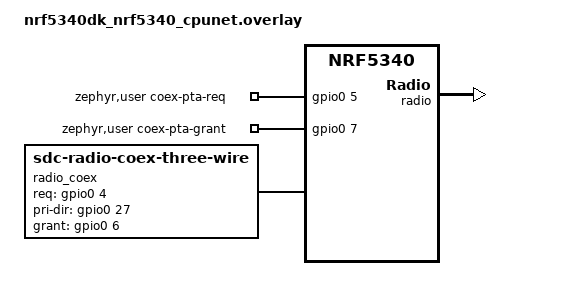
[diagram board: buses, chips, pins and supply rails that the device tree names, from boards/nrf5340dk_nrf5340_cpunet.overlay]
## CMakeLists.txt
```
# Copyright (c) 2021 Nordic Semiconductor ASA
#
# SPDX-License-Identifier: LicenseRef-Nordic-5-Clause
#

cmake_minimum_required(VERSION 3.20.0)

find_package(Zephyr REQUIRED HINTS $ENV{ZEPHYR_BASE})

project("External radio Bluetooth coexistence sample")

#if (NOT CONFIG_SOC_SERIES_NRF52X)
#  message(FATAL_ERROR "This sample is only supported on the nRF52 series.")
#endif()

# NORDIC SDK APP START
target_sources(app PRIVATE
  src/main.c
)
# NORDIC SDK APP END
```

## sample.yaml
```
sample:
  description: Bluetooth radio coexistence
  name: Bluetooth radio coexistence 3wire sample
tests:
  samples.bluetooth.radio_coex_3wire:
    build_only: true
    integration_platforms:
      - nrf52840dk_nrf52840
      - nrf5340dk_nrf5340_cpunet
    tags: bluetooth ci_build
    platform_allow: nrf52840dk_nrf52840 nrf5340dk_nrf5340_cpunet
```

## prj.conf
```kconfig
#
# Copyright (c) 2019 Nordic Semiconductor
#
# SPDX-License-Identifier: LicenseRef-Nordic-5-Clause
#

CONFIG_NCS_SAMPLES_DEFAULTS=y
CONFIG_ASSERT=y

CONFIG_BT=y
CONFIG_BT_PERIPHERAL=y
CONFIG_BT_DEVICE_NAME="Nordic_Bluetooth_Coex"

CONFIG_CONSOLE_SUBSYS=y
CONFIG_CONSOLE_GETCHAR=y
CONFIG_MPSL_CX=y
CONFIG_MPSL_CX_BT_3WIRE=y

CONFIG_NRFX_TIMER2=y
CONFIG_NRFX_GPIOTE=y

CONFIG_NCS_SAMPLE_EMPTY_APP_CORE_CHILD_IMAGE=y
CONFIG_BT_LBS=y
```

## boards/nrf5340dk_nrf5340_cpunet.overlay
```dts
/* Copyright (c) 2021 Nordic Semiconductor ASA
 *
 * SPDX-License-Identifier: LicenseRef-Nordic-5-Clause
 */

/ {
  zephyr,user {
    coex-pta-req-gpios =   <&gpio0 5 GPIO_ACTIVE_HIGH>;
    coex-pta-grant-gpios = <&gpio0 7 GPIO_ACTIVE_HIGH>;
  };

  radio_coex: radio_coex_three_wire {
    status = "okay";
    compatible = "sdc-radio-coex-three-wire";
    req-gpios =     <&gpio0 4 GPIO_ACTIVE_HIGH>;
    pri-dir-gpios = <&gpio0 27 GPIO_ACTIVE_HIGH>;
    grant-gpios =   <&gpio0 6 GPIO_ACTIVE_HIGH>;
    type-delay-us = <8>;
    radio-delay-us = <5>;
    /delete-property/ is-rx-active-level;
  };
};

&radio {
  coex = <&radio_coex>;
};
```

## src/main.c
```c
/*
 * Copyright (c) 2021 Nordic Semiconductor ASA
 *
 * SPDX-License-Identifier: LicenseRef-Nordic-5-Clause
 */

#include <stddef.h>
#include <sys/printk.h>
#include <console/console.h>
#include <sys/__assert.h>

#include <bluetooth/bluetooth.h>
#include <bluetooth/uuid.h>

#include <hal/nrf_radio.h>
#include <hal/nrf_egu.h>
#include <nrfx_timer.h>
#include <nrfx_gpiote.h>
#include <helpers/nrfx_gppi.h>

#if defined(CONFIG_HAS_HW_NRF_DPPIC)
#include <mpsl_dppi_protocol_api.h>
#endif

#define DEBUG_GPIO
#define ADV_CONN

#define ZEPHYR_USER_NODE DT_PATH(zephyr_user)
#if (DT_NODE_HAS_PROP(ZEPHYR_USER_NODE, coex_pta_req_gpios) && \
	DT_NODE_HAS_PROP(ZEPHYR_USER_NODE, coex_pta_grant_gpios) && \
	DT_NODE_HAS_STATUS(DT_PHANDLE(DT_NODELABEL(radio), coex), okay))
/* PTA input */
#define APP_REQ_GPIO_PIN NRF_DT_GPIOS_TO_PSEL(ZEPHYR_USER_NODE, coex_pta_req_gpios)
/* PTA output */
#define APP_GRANT_GPIO_PIN NRF_DT_GPIOS_TO_PSEL(ZEPHYR_USER_NODE, coex_pta_grant_gpios)
#define COEX_NODE DT_PHANDLE(DT_NODELABEL(radio), coex)
#else
#error "Unsupported board: see README and check /zephyr,user node"
#define APP_REQ_GPIO_PIN 0
#define APP_GRANT_GPIO_PIN 0
#define CX_NODE DT_INVALID_NODE
#endif

#if defined(CONFIG_HAS_HW_NRF_PPI)
#include <nrfx_ppi.h>
#define gppi_channel_t        nrf_ppi_channel_t
#define gppi_channel_alloc    nrfx_ppi_channel_alloc
#define EGU0_IRQn SWI0_EGU0_IRQn
#elif defined(CONFIG_HAS_HW_NRF_DPPIC)
#include <nrfx_dppi.h>
#define gppi_channel_t        uint8_t
#define gppi_channel_alloc    nrfx_dppi_channel_alloc
#else
#error "No PPI or DPPI"
#endif

#ifdef DEBUG_GPIO
#if defined(CONFIG_HAS_HW_NRF_PPI)
#define DEBUG_GPIO_PIN        31
#else
#define DEBUG_GPIO_PIN        26
#endif
#endif

#define APP_GRANT_TIMER NRF_TIMER2
#define APP_GRANT_TIMER_ID 2
#define APP_GRANT_TIMER_CC0 0

#define EGU_INT_PRIO 4

#define STACKSIZE CONFIG_MAIN_STACK_SIZE
#define THREAD_PRIORITY K_LOWEST_APPLICATION_THREAD_PRIO


#ifdef ADV_CONN
#include <bluetooth/services/lbs.h>

#define DEVICE_NAME             CONFIG_BT_DEVICE_NAME
#define DEVICE_NAME_LEN         (sizeof(DEVICE_NAME) - 1)

static const struct bt_data ad[] = {
	BT_DATA_BYTES(BT_DATA_FLAGS, (BT_LE_AD_GENERAL | BT_LE_AD_NO_BREDR)),
	BT_DATA(BT_DATA_NAME_COMPLETE, DEVICE_NAME, DEVICE_NAME_LEN),
};
static const struct bt_data sd[] = {
	BT_DATA_BYTES(BT_DATA_UUID128_ALL, BT_UUID_LBS_VAL),
};
#else
static const struct bt_data ad[] = {
	BT_DATA_BYTES(BT_DATA_FLAGS, (BT_LE_AD_GENERAL | BT_LE_AD_NO_BREDR)),
};
#endif

static const nrfx_timer_t grant_timer = NRFX_TIMER_INSTANCE(APP_GRANT_TIMER_ID);
static volatile uint32_t radio_event_count;
static gppi_channel_t app_req_assert_ppi_channel;
static bool state_granted;
static uint8_t app_grant_gpiote_ch;
static uint8_t app_req_assert_gpiote_ch;

static gppi_channel_t allocate_gppi_channel(void)
{
	gppi_channel_t channel;

	if (gppi_channel_alloc(&channel) != NRFX_SUCCESS) {
		__ASSERT(false, "(D)PPI channel allocation error");
	}
	return channel;
}

static void config_gpiote_output(uint32_t pin,
				nrf_gpiote_polarity_t polarity,
				nrf_gpiote_outinit_t init_val,
				uint8_t *channel_gpiote)
{
	if (nrfx_gpiote_channel_alloc(channel_gpiote) != NRFX_SUCCESS) {
		__ASSERT(false, "GPIOTE channel output allocation error");
	}
	nrf_gpiote_task_configure(NRF_GPIOTE, *channel_gpiote, pin,
					polarity, init_val);
	nrf_gpiote_task_enable(NRF_GPIOTE, *channel_gpiote);
}

static void config_gpiote_input(uint32_t pin,
				nrf_gpiote_polarity_t polarity,
				uint8_t *channel_gpiote)
{
	if (nrfx_gpiote_channel_alloc(channel_gpiote) != NRFX_SUCCESS) {
		__ASSERT(false, "GPIOTE channel input allocation error");
	}
	nrf_gpiote_event_configure(NRF_GPIOTE, *channel_gpiote, pin, polarity);
	nrf_gpiote_event_enable(NRF_GPIOTE, *channel_gpiote);
}

static void counter_handler(const void *context)
{
	radio_event_count++;
	nrf_egu_event_clear(NRF_EGU0, NRF_EGU_EVENT_TRIGGERED0);
}

static void setup_radio_event_counter(void)
{
	/*
	 * This function configures the EGU to pends an EGU interrupt every time the
	 * RADIO->EVENTS_READY so that we can count the number of events.
	 */
	IRQ_CONNECT(EGU0_IRQn, EGU_INT_PRIO, counter_handler, NULL, 0);
	nrf_egu_int_enable(NRF_EGU0, NRF_EGU_INT_TRIGGERED0);
	NVIC_EnableIRQ(EGU0_IRQn);

#if defined(CONFIG_HAS_HW_NRF_PPI)
	gppi_channel_t channel = allocate_gppi_channel();

	nrfx_gppi_channel_endpoints_setup(channel,
		nrf_radio_event_address_get(NRF_RADIO, NRF_RADIO_EVENT_READY),
		nrf_egu_task_address_get(NRF_EGU0, NRF_EGU_TASK_TRIGGER0));
	nrfx_gppi_channels_enable(BIT(channel));

#elif defined(CONFIG_HAS_HW_NRF_DPPIC)
	nrfx_gppi_fork_endpoint_setup(MPSL_DPPI_RADIO_PUBLISH_READY_CHANNEL_IDX,
		nrf_egu_task_address_get(NRF_EGU0, NRF_EGU_TASK_TRIGGER0));
#endif
}

static void dummy_timer_event_handler(nrf_timer_event_t event_type, void *p_context)
{
}

#ifdef DEBUG_GPIO
static void debug_init(void)
{
	uint8_t debug_gpiote_ch;
	config_gpiote_output(DEBUG_GPIO_PIN,
		NRF_GPIOTE_POLARITY_TOGGLE,
		NRF_GPIOTE_INITIAL_VALUE_LOW,
		&debug_gpiote_ch);

#if defined(CONFIG_HAS_HW_NRF_PPI)
	gppi_channel_t channel = allocate_gppi_channel();

	nrfx_gppi_channel_endpoints_setup(channel,
		nrf_radio_event_address_get(NRF_RADIO, NRF_RADIO_EVENT_DISABLED),
		nrf_gpiote_task_address_get(NRF_GPIOTE,
			nrf_gpiote_out_task_get(debug_gpiote_ch)));
	nrfx_gppi_channels_enable(BIT(channel));
#else
	nrfx_gppi_task_endpoint_setup(MPSL_DPPI_RADIO_PUBLISH_DISABLED_CH_IDX,
		nrf_gpiote_task_address_get(NRF_GPIOTE,
			nrf_gpiote_out_task_get(debug_gpiote_ch)));
#endif
}
#endif

static void grant_init(void)
{
	/* Setup request GPIOTE (assert) events for application */
	config_gpiote_input(APP_REQ_GPIO_PIN, NRF_GPIOTE_POLARITY_LOTOHI,
				&app_req_assert_gpiote_ch);

	/* Allocate PPI channel for request assert */
	app_req_assert_ppi_channel = allocate_gppi_channel();

	/* Setup request GPIOTE (de-assert) events for application */
	uint8_t app_req_deassert_gpiote_ch;

	config_gpiote_input(APP_REQ_GPIO_PIN, NRF_GPIOTE_POLARITY_HITOLO,
				&app_req_deassert_gpiote_ch);

	/* Allocate PPI channel for request deassert */
	gppi_channel_t app_req_deassert_ppi_channel = allocate_gppi_channel();

	/* Setup grant GPIOTE task for application */
	config_gpiote_output(APP_GRANT_GPIO_PIN,
				NRF_GPIOTE_POLARITY_LOTOHI,
				NRF_GPIOTE_INITIAL_VALUE_HIGH,
				&app_grant_gpiote_ch);

	/* Setup grant timer for application */
	nrfx_timer_config_t grant_timer_cfg = {
		.frequency = NRF_TIMER_FREQ_1MHz,
		.mode      = NRF_TIMER_MODE_TIMER,
		.p_context = NULL,
	};

	if (nrfx_timer_init(&grant_timer, &grant_timer_cfg, dummy_timer_event_handler)
		!= NRFX_SUCCESS) {
		__ASSERT(false, "Failed to initialise grant timer");
	}

	gppi_channel_t app_grant_timer_ppi_channel = allocate_gppi_channel();

	/* Configure the grant timer to start when the request pin is raised. */
	nrf_timer_cc_set(APP_GRANT_TIMER, APP_GRANT_TIMER_CC0, DT_PROP(COEX_NODE, type_delay_us));
	nrf_timer_shorts_enable(APP_GRANT_TIMER,
		NRF_TIMER_SHORT_COMPARE0_STOP_MASK | NRF_TIMER_SHORT_COMPARE0_CLEAR_MASK);
	nrfx_gppi_channel_endpoints_setup(app_grant_timer_ppi_channel,
		nrf_gpiote_event_address_get(NRF_GPIOTE,
			nrf_gpiote_in_event_get(app_req_assert_gpiote_ch)),
		nrf_timer_task_address_get(APP_GRANT_TIMER, NRF_TIMER_TASK_START));
	nrfx_gppi_channels_enable(BIT(app_grant_timer_ppi_channel));

	/* Start with request granted */
	nrfx_gppi_channel_endpoints_setup(app_req_assert_ppi_channel,
		nrf_timer_event_address_get(APP_GRANT_TIMER, NRF_TIMER_EVENT_COMPARE0),
		nrf_gpiote_task_address_get(NRF_GPIOTE,
			nrf_gpiote_set_task_get(app_grant_gpiote_ch)));
	nrfx_gppi_channels_enable(BIT(app_req_assert_ppi_channel));
	radio_event_count = 0;
	state_granted = true;

	/* Make grant return-to-one */
	nrfx_gppi_channel_endpoints_setup(app_req_deassert_ppi_channel,
		nrf_gpiote_event_address_get(NRF_GPIOTE,
			nrf_gpiote_in_event_get(app_req_deassert_gpiote_ch)),
		nrf_gpiote_task_address_get(NRF_GPIOTE,
			nrf_gpiote_out_task_get(app_grant_gpiote_ch)));
	nrfx_gppi_channels_enable(BIT(app_req_deassert_ppi_channel));
}

static void config_pta_to_always_grant_request(void)
{
	nrfx_gppi_channels_disable(BIT(app_req_assert_ppi_channel));
#if defined(CONFIG_HAS_HW_NRF_PPI)
	nrfx_gppi_task_endpoint_setup(app_req_assert_ppi_channel,
		nrf_gpiote_task_address_get(NRF_GPIOTE,
			nrf_gpiote_set_task_get(app_grant_gpiote_ch)));
#elif defined(CONFIG_HAS_HW_NRF_DPPIC)
	nrfx_gppi_task_endpoint_clear(app_req_assert_ppi_channel,
		nrf_gpiote_task_address_get(NRF_GPIOTE, nrf_gpiote_clr_task_get(app_grant_gpiote_ch)));
	nrfx_gppi_task_endpoint_setup(app_req_assert_ppi_channel,
		nrf_gpiote_task_address_get(NRF_GPIOTE, nrf_gpiote_set_task_get(app_grant_gpiote_ch)));
#endif
	nrfx_gppi_channels_enable(BIT(app_req_assert_ppi_channel));
}

static void config_pta_to_always_deny_request(void)
{
	nrfx_gppi_channels_disable(BIT(app_req_assert_ppi_channel));
#if defined(CONFIG_HAS_HW_NRF_PPI)
	nrfx_gppi_task_endpoint_setup(app_req_assert_ppi_channel,
		nrf_gpiote_task_address_get(NRF_GPIOTE,
			nrf_gpiote_clr_task_get(app_grant_gpiote_ch)));
#elif defined(CONFIG_HAS_HW_NRF_DPPIC)
	nrfx_gppi_task_endpoint_clear(app_req_assert_ppi_channel,
		nrf_gpiote_task_address_get(NRF_GPIOTE, nrf_gpiote_set_task_get(app_grant_gpiote_ch)));
	nrfx_gppi_task_endpoint_setup(app_req_assert_ppi_channel,
		nrf_gpiote_task_address_get(NRF_GPIOTE, nrf_gpiote_clr_task_get(app_grant_gpiote_ch)));
#endif
	nrfx_gppi_channels_enable(BIT(app_req_assert_ppi_channel));
}

static void print_state(void)
{
	if (state_granted)
		printk("Current state is: Grant every request\n");
	else
		printk("Current state is: Deny every request\n");
}

static void console_setup(void)
{
	if (console_init()) {
		__ASSERT(false, "Failed to initialise console");
	}

	printk("-----------------------------------------------------\n");
	printk("Press a key to change state:\n");
	printk("'g' to grant every request\n");
	printk("'d' to deny every request\n");
	printk("-----------------------------------------------------\n");
	print_state();
}

static void check_input(void)
{
	char input_char;
	bool new_state_granted = state_granted;

	input_char = console_getchar();
	if (input_char == 'g') {
		new_state_granted = true;
	} else if (input_char == 'd') {
		new_state_granted = false;
	} else {
		return;
	}

	if (state_granted != new_state_granted) {
		if (new_state_granted) {
			config_pta_to_always_grant_request();
		} else {
			config_pta_to_always_deny_request();
		}

		state_granted = new_state_granted;
		print_state();
		radio_event_count = 0;
	}
}

static void console_print_thread(void)
{
	while (1) {
		printk("Number of radio events last second: %d\n", radio_event_count);
		radio_event_count = 0;
		k_sleep(K_MSEC(1000));
	}
}

void main(void)
{
	printk("Starting Radio Coex Demo 3wire on board %s\n", CONFIG_BOARD);

	if (bt_enable(NULL)) {
		printk("Bluetooth init failed");
		return;
	}
	printk("Bluetooth initialized\n");

	setup_radio_event_counter();

	grant_init();

#ifdef DEBUG_GPIO
	debug_init();
#endif

	int err;

#ifdef ADV_CONN
	err = bt_le_adv_start(BT_LE_ADV_CONN, ad, ARRAY_SIZE(ad),
			      sd, ARRAY_SIZE(sd));
#else
	err = bt_le_adv_start(BT_LE_ADV_NCONN, ad, ARRAY_SIZE(ad), NULL, 0);
#endif
	if (err) {
		printk("Advertising failed to start");
		return;
	}
	printk("Advertising started\n");

	console_setup();

	while (1) {
		check_input();
		k_sleep(K_MSEC(100));
	}
}

K_THREAD_DEFINE(console_print_thread_id, STACKSIZE, console_print_thread,
		NULL, NULL, NULL, THREAD_PRIORITY, 0, 0);
```
